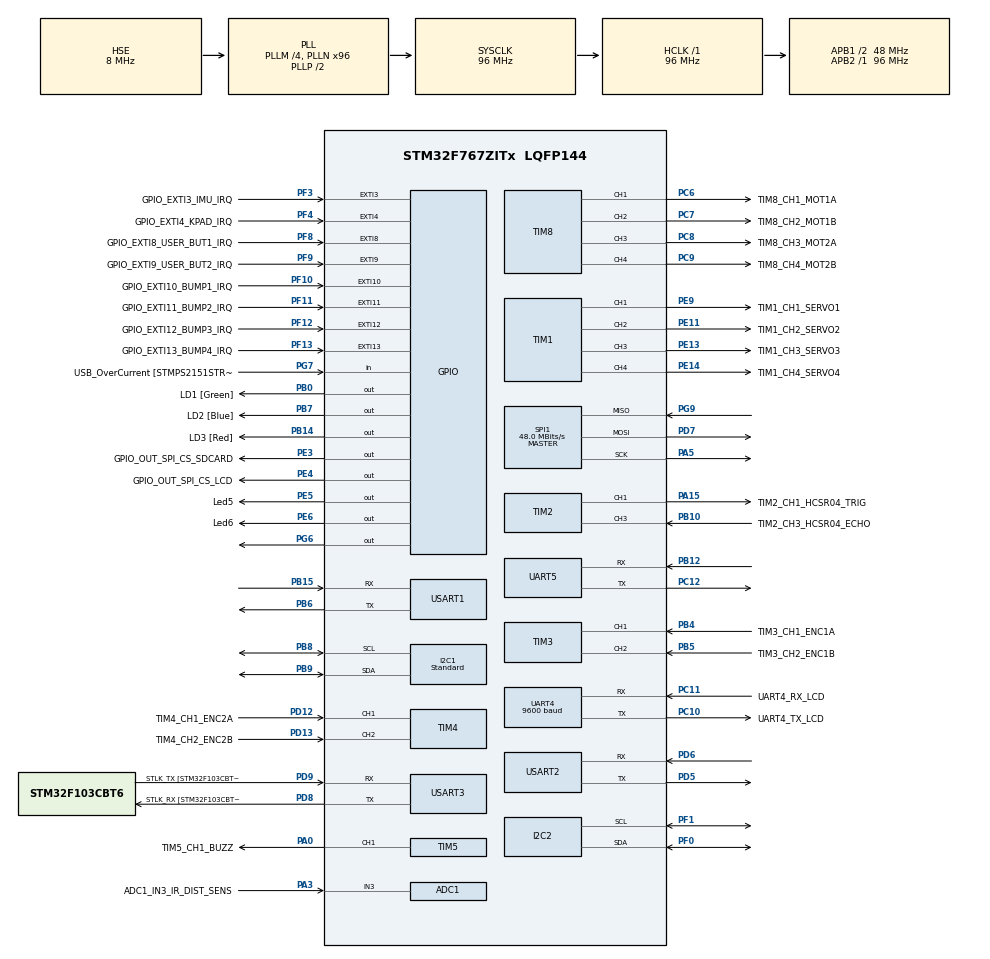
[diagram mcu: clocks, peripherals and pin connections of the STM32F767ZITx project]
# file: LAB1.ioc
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ADC1.Channel-1\#ChannelRegularConversion=ADC_CHANNEL_3
ADC1.NbrOfConversionFlag=1
ADC1.Rank-1\#ChannelRegularConversion=1
ADC1.SamplingTime-1\#ChannelRegularConversion=ADC_SAMPLETIME_3CYCLES
ADC1.master=1
FREERTOS.BinarySemaphores01=BinarySemSync,Dynamic,NULL
FREERTOS.Tasks01=lineSensorTask,48,128,StatLineSensorTask,Default,NULL,Dynamic,NULL,NULL;led1task,48,128,StartLed1task,Default,NULL,Dynamic,NULL,NULL;led2task,8,128,StartLed2task,Default,NULL,Dynamic,NULL,NULL
FREERTOS.configUSE_NEWLIB_REENTRANT=1
I2C1.I2C_Speed_Mode=I2C_Standard
I2C1.Timing=0x20303E5D
I2C2.Timing=0x20303E5D
Mcu.Family=STM32F7
Mcu.Name=STM32F767ZITx
Mcu.Package=LQFP144
Mcu.UserConstants=TIM8_PSC_VALUE,959;TIM8_ARR_VALUE,400;TIM1_PSC_VALUE,959;TIM1_ARR_VALUE,200
NVIC.EXTI4_IRQn=true\:5\:0\:true\:false\:true\:true\:true\:true\:true
NVIC.PriorityGroup=NVIC_PRIORITYGROUP_4
NVIC.TIM6_DAC_IRQn=true\:15\:0\:false\:false\:true\:false\:false\:true\:true
NVIC.TimeBase=TIM6_DAC_IRQn
NVIC.TimeBaseIP=TIM6
PA0/WKUP.GPIO_Label=TIM5_CH1_BUZZ
PA0/WKUP.Signal=S_TIM5_CH1
PA1.GPIO_Label=RMII_REF_CLK [LAN8742A-CZ-TR_REFCLK0]
PA1.Signal=ETH_REF_CLK
PA10.GPIO_Label=USB_ID
PA10.Signal=USB_OTG_FS_ID
PA11.GPIO_Label=USB_DM
PA11.Signal=USB_OTG_FS_DM
PA12.GPIO_Label=USB_DP
PA12.Signal=USB_OTG_FS_DP
PA13.GPIO_Label=TMS
PA13.Mode=Serial_Wire
PA13.Signal=SYS_JTMS-SWDIO
PA14.GPIO_Label=TCK
PA14.Mode=Serial_Wire
PA14.Signal=SYS_JTCK-SWCLK
PA15.GPIO_Label=TIM2_CH1_HCSR04_TRIG
PA15.Signal=S_TIM2_CH1_ETR
PA2.GPIO_Label=RMII_MDIO [LAN8742A-CZ-TR_MDIO]
PA2.Signal=ETH_MDIO
PA3.GPIO_Label=ADC1_IN3_IR_DIST_SENS
PA3.Signal=ADCx_IN3
PA5.Mode=Full_Duplex_Master
PA5.Signal=SPI1_SCK
PA7.GPIO_Label=RMII_CRS_DV [LAN8742A-CZ-TR_CRS_DV]
PA7.Signal=ETH_CRS_DV
PA8.GPIO_Label=USB_SOF [TP1]
PA8.Signal=USB_OTG_FS_SOF
PA9.GPIO_Label=USB_VBUS
PA9.Signal=USB_OTG_FS_VBUS
PB0.GPIO_Label=LD1 [Green]
PB0.Signal=GPIO_Output
PB10.GPIO_Label=TIM2_CH3_HCSR04_ECHO
PB10.Signal=S_TIM2_CH3
PB12.Mode=Asynchronous
PB12.Signal=UART5_RX
PB13.GPIO_Label=RMII_TXD1 [LAN8742A-CZ-TR_TXD1]
PB13.Signal=ETH_TXD1
PB14.GPIO_Label=LD3 [Red]
PB14.Signal=GPIO_Output
PB15.Mode=Asynchronous
PB15.Signal=USART1_RX
PB3.GPIO_Label=SWO
PB3.Signal=SYS_JTDO-SWO
PB4.GPIO_Label=TIM3_CH1_ENC1A
PB4.Signal=S_TIM3_CH1
PB5.GPIO_Label=TIM3_CH2_ENC1B
PB5.Signal=S_TIM3_CH2
PB6.Mode=Asynchronous
PB6.Signal=USART1_TX
PB7.GPIO_Label=LD2 [Blue]
PB7.Signal=GPIO_Output
PB8.GPIO_Pu=GPIO_PULLUP
PB8.Mode=I2C
PB8.Signal=I2C1_SCL
PB9.GPIO_Pu=GPIO_PULLUP
PB9.Mode=I2C
PB9.Signal=I2C1_SDA
PC1.GPIO_Label=RMII_MDC [LAN8742A-CZ-TR_MDC]
PC1.Signal=ETH_MDC
PC10.GPIO_Label=UART4_TX_LCD
PC10.Mode=Asynchronous
PC10.Signal=UART4_TX
PC11.GPIO_Label=UART4_RX_LCD
PC11.Mode=Asynchronous
PC11.Signal=UART4_RX
PC12.Mode=Asynchronous
PC12.Signal=UART5_TX
PC14/OSC32_IN.Mode=LSE-External-Oscillator
PC14/OSC32_IN.Signal=RCC_OSC32_IN
PC15/OSC32_OUT.Mode=LSE-External-Oscillator
PC15/OSC32_OUT.Signal=RCC_OSC32_OUT
PC4.GPIO_Label=RMII_RXD0 [LAN8742A-CZ-TR_RXD0]
PC4.Signal=ETH_RXD0
PC5.GPIO_Label=RMII_RXD1 [LAN8742A-CZ-TR_RXD1]
PC5.Signal=ETH_RXD1
PC6.GPIO_Label=TIM8_CH1_MOT1A
PC6.Signal=S_TIM8_CH1
PC7.GPIO_Label=TIM8_CH2_MOT1B
PC7.Signal=S_TIM8_CH2
PC8.GPIO_Label=TIM8_CH3_MOT2A
PC8.Signal=S_TIM8_CH3
PC9.GPIO_Label=TIM8_CH4_MOT2B
PC9.Signal=S_TIM8_CH4
PD12.GPIO_Label=TIM4_CH1_ENC2A
PD12.Signal=S_TIM4_CH1
PD13.GPIO_Label=TIM4_CH2_ENC2B
PD13.Signal=S_TIM4_CH2
PD5.Mode=Asynchronous
PD5.Signal=USART2_TX
PD6.Mode=Asynchronous
PD6.Signal=USART2_RX
PD7.Mode=Full_Duplex_Master
PD7.Signal=SPI1_MOSI
PD8.GPIO_Label=STLK_RX [STM32F103CBT6_PA3]
PD8.Mode=Asynchronous
PD8.Signal=USART3_TX
PD9.GPIO_Label=STLK_TX [STM32F103CBT6_PA2]
PD9.Mode=Asynchronous
PD9.Signal=USART3_RX
PE11.GPIO_Label=TIM1_CH2_SERVO2
PE11.Signal=S_TIM1_CH2
PE13.GPIO_Label=TIM1_CH3_SERVO3
PE13.Signal=S_TIM1_CH3
PE14.GPIO_Label=TIM1_CH4_SERVO4
PE14.Signal=S_TIM1_CH4
PE3.GPIO_Label=GPIO_OUT_SPI_CS_SDCARD
PE3.Signal=GPIO_Output
PE4.GPIO_Label=GPIO_OUT_SPI_CS_LCD
PE4.Signal=GPIO_Output
PE5.GPIO_Label=Led5
PE5.Signal=GPIO_Output
PE6.GPIO_Label=Led6
PE6.Signal=GPIO_Output
PE9.GPIO_Label=TIM1_CH1_SERVO1
PE9.Signal=S_TIM1_CH1
PF0.GPIO_Pu=GPIO_PULLUP
PF0.Mode=I2C
PF0.Signal=I2C2_SDA
PF1.GPIO_Pu=GPIO_PULLUP
PF1.Mode=I2C
PF1.Signal=I2C2_SCL
PF10.GPIO_Label=GPIO_EXTI10_BUMP1_IRQ
PF10.Signal=GPXTI10
PF11.GPIO_Label=GPIO_EXTI11_BUMP2_IRQ
PF11.Signal=GPXTI11
PF12.GPIO_Label=GPIO_EXTI12_BUMP3_IRQ
PF12.Signal=GPXTI12
PF13.GPIO_Label=GPIO_EXTI13_BUMP4_IRQ
PF13.Signal=GPXTI13
PF3.GPIO_Label=GPIO_EXTI3_IMU_IRQ
PF3.Signal=GPXTI3
PF4.GPIO_Label=GPIO_EXTI4_KPAD_IRQ
PF4.GPIO_ModeDefaultEXTI=GPIO_MODE_IT_FALLING
PF4.Signal=GPXTI4
PF8.GPIO_Label=GPIO_EXTI8_USER_BUT1_IRQ
PF8.Signal=GPXTI8
PF9.GPIO_Label=GPIO_EXTI9_USER_BUT2_IRQ
PF9.Signal=GPXTI9
PG11.GPIO_Label=RMII_TX_EN [LAN8742A-CZ-TR_TXEN]
PG11.Signal=ETH_TX_EN
PG13.GPIO_Label=RMII_TXD0 [LAN8742A-CZ-TR_TXD0]
PG13.Signal=ETH_TXD0
PG6.Signal=GPIO_Output
PG7.GPIO_Label=USB_OverCurrent [STMPS2151STR_FAULT]
PG7.Signal=GPIO_Input
PG9.Mode=Full_Duplex_Master
PG9.Signal=SPI1_MISO
PH0/OSC_IN.GPIO_Label=MCO [STM32F103CBT6_PA8]
PH0/OSC_IN.Mode=HSE-External-Clock-Source
PH0/OSC_IN.Signal=RCC_OSC_IN
PH1/OSC_OUT.Mode=HSE-External-Clock-Source
PH1/OSC_OUT.Signal=RCC_OSC_OUT
ProjectManager.HeapSize=0x200
ProjectManager.StackSize=0x400
ProjectManager.TargetToolchain=STM32CubeIDE
RCC.48MHZClocksFreq_Value=24000000
RCC.AHBFreq_Value=96000000
RCC.APB1CLKDivider=RCC_HCLK_DIV2
RCC.APB1Freq_Value=48000000
RCC.APB1TimFreq_Value=96000000
RCC.APB2Freq_Value=96000000
RCC.APB2TimFreq_Value=96000000
RCC.CortexFreq_Value=96000000
RCC.HCLKFreq_Value=96000000
RCC.HSE_VALUE=8000000
RCC.HSI_VALUE=16000000
RCC.PLLM=4
RCC.PLLMUL=RCC_PLL_MUL9
RCC.PLLN=96
RCC.PLLQ=4
RCC.PLLSourceVirtual=RCC_PLLSOURCE_HSE
RCC.PRESCALERUSB=RCC_USBCLKSOURCE_PLL_DIV1_5
RCC.SYSCLKFreq_VALUE=96000000
RCC.SYSCLKSource=RCC_SYSCLKSOURCE_PLLCLK
RCC.SYSCLKSourceVirtual=RCC_SYSCLKSOURCE_PLLCLK
RCC.USBFreq_Value=48000000
RCC.VCOOutputFreq_Value=192000000
SH.ADCx_IN3.0=ADC1_IN3,IN3
SH.S_TIM1_CH1.0=TIM1_CH1,PWM Generation1 CH1
SH.S_TIM1_CH2.0=TIM1_CH2,PWM Generation2 CH2
SH.S_TIM1_CH3.0=TIM1_CH3,PWM Generation3 CH3
SH.S_TIM1_CH4.0=TIM1_CH4,PWM Generation4 CH4
SH.S_TIM2_CH1_ETR.0=TIM2_CH1,PWM Generation1 CH1
SH.S_TIM2_CH3.0=TIM2_CH3,Input_Capture3_from_TI3
SH.S_TIM3_CH1.0=TIM3_CH1,Encoder_Interface
SH.S_TIM3_CH2.0=TIM3_CH2,Encoder_Interface
SH.S_TIM4_CH1.0=TIM4_CH1,Encoder_Interface
SH.S_TIM4_CH2.0=TIM4_CH2,Encoder_Interface
SH.S_TIM5_CH1.0=TIM5_CH1,PWM Generation1 CH1
SH.S_TIM8_CH1.0=TIM8_CH1,PWM Generation1 CH1
SH.S_TIM8_CH2.0=TIM8_CH2,PWM Generation2 CH2
SH.S_TIM8_CH3.0=TIM8_CH3,PWM Generation3 CH3
SH.S_TIM8_CH4.0=TIM8_CH4,PWM Generation4 CH4
SPI1.CalculateBaudRate=48.0 MBits/s
SPI1.Direction=SPI_DIRECTION_2LINES
SPI1.Mode=SPI_MODE_MASTER
SPI1.VirtualType=VM_MASTER
TIM1.Channel-PWM\ Generation1\ CH1=TIM_CHANNEL_1
TIM1.Channel-PWM\ Generation2\ CH2=TIM_CHANNEL_2
TIM1.Channel-PWM\ Generation3\ CH3=TIM_CHANNEL_3
TIM1.Channel-PWM\ Generation4\ CH4=TIM_CHANNEL_4
TIM1.Period=TIM1_ARR_VALUE
TIM1.Prescaler=TIM1_PSC_VALUE
TIM2.Channel-Input_Capture3_from_TI3=TIM_CHANNEL_3
TIM2.Channel-PWM\ Generation1\ CH1=TIM_CHANNEL_1
TIM5.Channel-PWM\ Generation1\ CH1=TIM_CHANNEL_1
TIM8.Channel-PWM\ Generation1\ CH1=TIM_CHANNEL_1
TIM8.Channel-PWM\ Generation2\ CH2=TIM_CHANNEL_2
TIM8.Channel-PWM\ Generation3\ CH3=TIM_CHANNEL_3
TIM8.Channel-PWM\ Generation4\ CH4=TIM_CHANNEL_4
TIM8.Period=TIM8_ARR_VALUE
TIM8.Prescaler=TIM8_PSC_VALUE
UART4.BaudRate=9600
USART1.VirtualMode-Asynchronous=VM_ASYNC
USART2.VirtualMode-Asynchronous=VM_ASYNC
USART3.VirtualMode-Asynchronous=VM_ASYNC
VP_FREERTOS_VS_CMSIS_V2.Mode=CMSIS_V2
VP_SYS_VS_tim6.Mode=TIM6
VP_TIM1_VS_ClockSourceINT.Mode=Internal
VP_TIM2_VS_ClockSourceINT.Mode=Internal
VP_TIM5_VS_ClockSourceINT.Mode=Internal
VP_TIM8_VS_ClockSourceINT.Mode=Internal
board=NUCLEO-F767ZI

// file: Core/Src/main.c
/* USER CODE BEGIN Header */
/**
 ******************************************************************************
 * @file           : main.c
 * @brief          : Main program body
 ******************************************************************************
 * @attention
 *
 * <h2><center>&copy; Copyright (c) 2021 STMicroelectronics.
 * All rights reserved.</center></h2>
 *
 * This software component is licensed by ST under BSD 3-Clause license,
 * the "License"; You may not use this file except in compliance with the
 * License. You may obtain a copy of the License at:
 *                        opensource.org/licenses/BSD-3-Clause
 *
 ******************************************************************************
 */
/* USER CODE END Header */
#include "main.h"
#include "cmsis_os.h"

/* USER CODE BEGIN Includes */
#include <stdio.h>
#include <string.h>
#include "SX1509_Registers.h"
/* USER CODE END Includes */

/* USER CODE BEGIN PD */
#define HAL_TIMEOUT 100

#define I2C_TIMEOUT 200

#define SX1509_I2C_ADDR1 0x3E //	SX1509 Proxy Sensors I2C address
#define SX1509_I2C_ADDR2 0x3F //	SX1509 Keypad I2C address
/* USER CODE END PD */

ADC_HandleTypeDef hadc1;

I2C_HandleTypeDef hi2c1;
I2C_HandleTypeDef hi2c2;

SPI_HandleTypeDef hspi1;

TIM_HandleTypeDef htim1;
TIM_HandleTypeDef htim2;
TIM_HandleTypeDef htim3;
TIM_HandleTypeDef htim4;
TIM_HandleTypeDef htim5;
TIM_HandleTypeDef htim8;

UART_HandleTypeDef huart4;
UART_HandleTypeDef huart5;
UART_HandleTypeDef huart1;
UART_HandleTypeDef huart2;
UART_HandleTypeDef huart3;

/* Definitions for lineSensorTask */
osThreadId_t lineSensorTaskHandle;
const osThreadAttr_t lineSensorTask_attributes = {
  .name = "lineSensorTask",
  .stack_size = 128 * 4,
  .priority = (osPriority_t) osPriorityRealtime,
};
/* Definitions for led1task */
osThreadId_t led1taskHandle;
const osThreadAttr_t led1task_attributes = {
  .name = "led1task",
  .stack_size = 128 * 4,
  .priority = (osPriority_t) osPriorityRealtime,
};
/* Definitions for led2task */
osThreadId_t led2taskHandle;
const osThreadAttr_t led2task_attributes = {
  .name = "led2task",
  .stack_size = 128 * 4,
  .priority = (osPriority_t) osPriorityLow,
};
/* Definitions for BinarySemSync */
osSemaphoreId_t BinarySemSyncHandle;
const osSemaphoreAttr_t BinarySemSync_attributes = {
  .name = "BinarySemSync"
};
/* USER CODE BEGIN PV */
const char keypadLayout[4][4] = {
    {'*', '0', '#', 'D'},
    {'7', '8', '9', 'C'},
    {'4', '5', '6', 'B'},
    {'1', '2', '3', 'A'}};
/* USER CODE END PV */

void SystemClock_Config(void);
static void MX_GPIO_Init(void);
static void MX_USART3_UART_Init(void);
static void MX_ADC1_Init(void);
static void MX_I2C1_Init(void);
static void MX_I2C2_Init(void);
static void MX_SPI1_Init(void);
static void MX_TIM1_Init(void);
static void MX_TIM2_Init(void);
static void MX_TIM3_Init(void);
static void MX_TIM4_Init(void);
static void MX_TIM5_Init(void);
static void MX_TIM8_Init(void);
static void MX_UART4_Init(void);
static void MX_UART5_Init(void);
static void MX_USART1_UART_Init(void);
static void MX_USART2_UART_Init(void);
void StatLineSensorTask(void *argument);
void StartLed1task(void *argument);
void StartLed2task(void *argument);

/* USER CODE BEGIN PFP */
extern void initialise_monitor_handles(void);
/* USER CODE END PFP */

/* USER CODE BEGIN 0 */
#define INITIAL_WAIT_TIME  400;
int actual_wait = INITIAL_WAIT_TIME;
int actual_keyboard_value = 0;
int frequency = 0;

uint8_t countBit(uint8_t n){
	uint8_t count = 0;
	while(n){
		count += n & 1;
		n>>=1;
	}
	return count;
}

void HAL_GPIO_EXTI_Callback(uint16_t GPIO_Pin)
{

  printf("Interrupt on pin (%d).\n", GPIO_Pin);

  /* your code here */
  uint8_t buf[2], data;

  HAL_StatusTypeDef status =  HAL_I2C_Mem_Read(&hi2c1, SX1509_I2C_ADDR2 << 1, REG_KEY_DATA_1, 1, &buf[0], 1, HAL_TIMEOUT);
  if (status != HAL_OK)
    printf("I2C communication error (%X).\n", status);
  status =  HAL_I2C_Mem_Read(&hi2c1, SX1509_I2C_ADDR2 << 1, REG_KEY_DATA_2, 1, &buf[1], 1, HAL_TIMEOUT);
  if (status != HAL_OK)
      printf("I2C communication error (%X).\n", status);
  int row = countBit(~buf[0]-1);
  int column = countBit(~buf[1]-1);
  printf("Keypad button: (%c).\n",keypadLayout[column][row]);

  // EASY WAY
  //int frequency = (int) keypadLayout[column][row]-48;

  // HARD WAY
  if(keypadLayout[column][row] == '#')
  {
	  frequency = actual_keyboard_value;
	  actual_keyboard_value = 0;
  }
  else
  {
	  actual_keyboard_value = actual_keyboard_value*10 + ((int) keypadLayout[column][row]-48);
  }

  if (frequency == 0)
	  actual_wait = 0;
  else
	  actual_wait = 1000 / frequency;

}

/* USER CODE END 0 */

int main(void)
{
  /* USER CODE BEGIN 1 */
  uint8_t data;
  HAL_StatusTypeDef status;
  /* USER CODE END 1 */

  /* MCU Configuration--------------------------------------------------------*/

  /* Reset of all peripherals, Initializes the Flash interface and the Systick. */
  HAL_Init();

  /* Configure the system clock */
  SystemClock_Config();

  /* USER CODE BEGIN SysInit */
  initialise_monitor_handles();
  /* USER CODE END SysInit */

  /* Initialize all configured peripherals */
  MX_GPIO_Init();
  MX_USART3_UART_Init();
  MX_ADC1_Init();
  MX_I2C1_Init();
  MX_I2C2_Init();
  MX_SPI1_Init();
  MX_TIM1_Init();
  MX_TIM2_Init();
  MX_TIM3_Init();
  MX_TIM4_Init();
  MX_TIM5_Init();
  MX_TIM8_Init();
  MX_UART4_Init();
  MX_UART5_Init();
  MX_USART1_UART_Init();
  MX_USART2_UART_Init();
  /* USER CODE BEGIN 2 */

  /* Disable LCD SPI SS */
  HAL_GPIO_WritePin(GPIO_OUT_SPI_CS_LCD_GPIO_Port, GPIO_OUT_SPI_CS_LCD_Pin, GPIO_PIN_SET);

  /* Disable EXTI4_IRQ during SX1509 initialization */
  HAL_NVIC_DisableIRQ(EXTI4_IRQn);

  /* Software reset */
  data = 0x12;
  status = HAL_I2C_Mem_Write(&hi2c1, SX1509_I2C_ADDR2 << 1, REG_RESET, 1, &data, 1, I2C_TIMEOUT);
  if (status != HAL_OK)
    printf("I2C communication error (%X).\n", status);

  data = 0x34;
  status = HAL_I2C_Mem_Write(&hi2c1, SX1509_I2C_ADDR2 << 1, REG_RESET, 1, &data, 1, I2C_TIMEOUT);
  if (status != HAL_OK)
    printf("I2C communication error (%X).\n", status);

  HAL_Delay(100);

  /* Set KeyPad scanning engine */

  /* Set RegClock to 0x40 (enable internal oscillator; 2MHz freq) */
  data = 0x40;
  status = HAL_I2C_Mem_Write(&hi2c1, SX1509_I2C_ADDR2 << 1, REG_CLOCK, 1, &data, 1, I2C_TIMEOUT);
  if (status != HAL_OK)
    printf("I2C communication error (%X).\n", status);

  /* Set Bank A RegDir to 0xF0 (IO[0:3] as out) */
  data = 0xF0;
  status = HAL_I2C_Mem_Write(&hi2c1, SX1509_I2C_ADDR2 << 1, REG_DIR_A, 1, &data, 1, I2C_TIMEOUT);
  if (status != HAL_OK)
    printf("I2C communication error (%X).\n", status);

  /* Set Bank B RegDir to 0x0F (IO[8:11] as in) */
  data = 0x0F;
  status = HAL_I2C_Mem_Write(&hi2c1, SX1509_I2C_ADDR2 << 1, REG_DIR_B, 1, &data, 1, I2C_TIMEOUT);
  if (status != HAL_OK)
    printf("I2C communication error (%X).\n", status);

  /* Set Bank A RegOpenDrain to 0x0F (IO[0:3] as open-drain outputs) */
  data = 0x0F;
  status = HAL_I2C_Mem_Write(&hi2c1, SX1509_I2C_ADDR2 << 1, REG_OPEN_DRAIN_A, 1, &data, 1, I2C_TIMEOUT);
  if (status != HAL_OK)
    printf("I2C communication error (%X).\n", status);

  /* Set Bank B RegPullup to 0x0F (pull-ups enabled on inputs IO[8:11]) */
  data = 0x0F;
  status = HAL_I2C_Mem_Write(&hi2c1, SX1509_I2C_ADDR2 << 1, REG_PULL_UP_B, 1, &data, 1, I2C_TIMEOUT);
  if (status != HAL_OK)
    printf("I2C communication error (%X).\n", status);

  /* Set Bank B RegDebounceEnable to 0x0F (enable debouncing on IO[8:11]) */
  data = 0x0F;
  status = HAL_I2C_Mem_Write(&hi2c1, SX1509_I2C_ADDR2 << 1, REG_DEBOUNCE_ENABLE_B, 1, &data, 1, I2C_TIMEOUT);
  if (status != HAL_OK)
    printf("I2C communication error (%X).\n", status);

  /* Set RegDebounceConfig to 0x05 (16ms debounce time) */
  data = 0x05;
  status = HAL_I2C_Mem_Write(&hi2c1, SX1509_I2C_ADDR2 << 1, REG_DEBOUNCE_CONFIG, 1, &data, 1, I2C_TIMEOUT);
  if (status != HAL_OK)
    printf("I2C communication error (%X).\n", status);

  /* Set RegKeyConfig1 to 0x7D (8s auto-sleep; 32ms scan time per row) */
  data = 0x7D;
  status = HAL_I2C_Mem_Write(&hi2c1, SX1509_I2C_ADDR2 << 1, REG_KEY_CONFIG_1, 1, &data, 1, I2C_TIMEOUT);
  if (status != HAL_OK)
    printf("I2C communication error (%X).\n", status);

  /* Set RegKeyConfig2 to 0x1B (4 rows; 4 columns) */
  data = 0x1B;
  status = HAL_I2C_Mem_Write(&hi2c1, SX1509_I2C_ADDR2 << 1, REG_KEY_CONFIG_2, 1, &data, 1, I2C_TIMEOUT);
  if (status != HAL_OK)
    printf("I2C communication error (%X).\n", status);

  /* Enable EXTI4_IRQ after SX1509 initialization */
  HAL_Delay(100);
  HAL_NVIC_EnableIRQ(EXTI4_IRQn);

  /* Disable EXTI2_IRQ during SX1509 initialization */
  HAL_NVIC_DisableIRQ(EXTI2_IRQn);

  /* Software reset */
  data = 0x12;
  status = HAL_I2C_Mem_Write(&hi2c1, SX1509_I2C_ADDR1 << 1, REG_RESET, 1, &data, 1, I2C_TIMEOUT);
  if (status != HAL_OK)
    printf("I2C communication error (%X).\n", status);

  data = 0x34;
  status = HAL_I2C_Mem_Write(&hi2c1, SX1509_I2C_ADDR1 << 1, REG_RESET, 1, &data, 1, I2C_TIMEOUT);
  if (status != HAL_OK)
    printf("I2C communication error (%X).\n", status);

  HAL_Delay(100);

  /* Set RegDirA to 0xFF (all IO of Bank A configured as inputs) */
  data = 0xFF; // 0 = out; 1 = in
  status = HAL_I2C_Mem_Write(&hi2c1, SX1509_I2C_ADDR1 << 1, REG_DIR_A, 1, &data, 1, I2C_TIMEOUT);
  if (status != HAL_OK)
    printf("I2C communication error (%X).\n", status);

  /* Set RegDirB to 0xFF (all IO of Bank B configured as inputs) */
  data = 0xFF; // 0 = out; 1 = in
  status = HAL_I2C_Mem_Write(&hi2c1, SX1509_I2C_ADDR1 << 1, REG_DIR_B, 1, &data, 1, I2C_TIMEOUT);
  if (status != HAL_OK)
    printf("I2C communication error (%X).\n", status);

  /* Set RegInterruptMaskA to 0x00 (all IO of Bank A will trigger an interrupt) */
  data = 0x00;
  status = HAL_I2C_Mem_Write(&hi2c1, SX1509_I2C_ADDR1 << 1, REG_INTERRUPT_MASK_A, 1, &data, 1, I2C_TIMEOUT);
  if (status != HAL_OK)
    printf("I2C communication error (%X).\n", status);

  /* Set RegSenseHighA to 0xAA (IO[7:4] of Bank A will trigger an interrupt on falling edge) */
  data = 0xAA;
  status = HAL_I2C_Mem_Write(&hi2c1, SX1509_I2C_ADDR1 << 1, REG_SENSE_HIGH_A, 1, &data, 1, I2C_TIMEOUT);
  if (status != HAL_OK)
    printf("I2C communication error (%X).\n", status);

  /* Set RegSenseLowA to 0xAA (IO[3:0] of Bank A will trigger an interrupt on falling edge) */
  data = 0xAA;
  status = HAL_I2C_Mem_Write(&hi2c1, SX1509_I2C_ADDR1 << 1, REG_SENSE_LOW_A, 1, &data, 1, I2C_TIMEOUT);
  if (status != HAL_OK)
    printf("I2C communication error (%X).\n", status);

  /* Enable EXTI2_IRQ after SX1509 initialization */
  HAL_Delay(100);
  HAL_NVIC_EnableIRQ(EXTI2_IRQn);

  printf("Ready\n");

  /* USER CODE END 2 */

  /* Init scheduler */
  osKernelInitialize();

  /* Create the semaphores(s) */
  /* creation of BinarySemSync */
  BinarySemSyncHandle = osSemaphoreNew(1, 0, &BinarySemSync_attributes);

  /* Create the thread(s) */
  /* creation of lineSensorTask */
  lineSensorTaskHandle = osThreadNew(StatLineSensorTask, NULL, &lineSensorTask_attributes);

  /* creation of led1task */
  led1taskHandle = osThreadNew(StartLed1task, NULL, &led1task_attributes);

  /* creation of led2task */
  led2taskHandle = osThreadNew(StartLed2task, NULL, &led2task_attributes);

  /* Start scheduler */
  osKernelStart();

  /* We should never get here as control is now taken by the scheduler */
  /* Infinite loop */
  while (1)
  {

  }
}

void SystemClock_Config(void)
{
  RCC_OscInitTypeDef RCC_OscInitStruct = {0};
  RCC_ClkInitTypeDef RCC_ClkInitStruct = {0};

  /** Configure LSE Drive Capability
  */
  HAL_PWR_EnableBkUpAccess();

  /** Configure the main internal regulator output voltage
  */
  __HAL_RCC_PWR_CLK_ENABLE();
  __HAL_PWR_VOLTAGESCALING_CONFIG(PWR_REGULATOR_VOLTAGE_SCALE3);

  /** Initializes the RCC Oscillators according to the specified parameters
  * in the RCC_OscInitTypeDef structure.
  */
  RCC_OscInitStruct.OscillatorType = RCC_OSCILLATORTYPE_HSE;
  RCC_OscInitStruct.HSEState = RCC_HSE_BYPASS;
  RCC_OscInitStruct.PLL.PLLState = RCC_PLL_ON;
  RCC_OscInitStruct.PLL.PLLSource = RCC_PLLSOURCE_HSE;
  RCC_OscInitStruct.PLL.PLLM = 4;
  RCC_OscInitStruct.PLL.PLLN = 96;
  RCC_OscInitStruct.PLL.PLLP = RCC_PLLP_DIV2;
  RCC_OscInitStruct.PLL.PLLQ = 4;
  RCC_OscInitStruct.PLL.PLLR = 2;
  if (HAL_RCC_OscConfig(&RCC_OscInitStruct) != HAL_OK)
  {
    Error_Handler();
  }

  /** Activate the Over-Drive mode
  */
  if (HAL_PWREx_EnableOverDrive() != HAL_OK)
  {
    Error_Handler();
  }

  /** Initializes the CPU, AHB and APB buses clocks
  */
  RCC_ClkInitStruct.ClockType = RCC_CLOCKTYPE_HCLK|RCC_CLOCKTYPE_SYSCLK
                              |RCC_CLOCKTYPE_PCLK1|RCC_CLOCKTYPE_PCLK2;
  RCC_ClkInitStruct.SYSCLKSource = RCC_SYSCLKSOURCE_PLLCLK;
  RCC_ClkInitStruct.AHBCLKDivider = RCC_SYSCLK_DIV1;
  RCC_ClkInitStruct.APB1CLKDivider = RCC_HCLK_DIV2;
  RCC_ClkInitStruct.APB2CLKDivider = RCC_HCLK_DIV1;

  if (HAL_RCC_ClockConfig(&RCC_ClkInitStruct, FLASH_LATENCY_3) != HAL_OK)
  {
    Error_Handler();
  }
}

static void MX_ADC1_Init(void)
{

  ADC_ChannelConfTypeDef sConfig = {0};

  /** Configure the global features of the ADC (Clock, Resolution, Data Alignment and number of conversion)
  */
  hadc1.Instance = ADC1;
  hadc1.Init.ClockPrescaler = ADC_CLOCK_SYNC_PCLK_DIV4;
  hadc1.Init.Resolution = ADC_RESOLUTION_12B;
  hadc1.Init.ScanConvMode = ADC_SCAN_DISABLE;
  hadc1.Init.ContinuousConvMode = DISABLE;
  hadc1.Init.DiscontinuousConvMode = DISABLE;
  hadc1.Init.ExternalTrigConvEdge = ADC_EXTERNALTRIGCONVEDGE_NONE;
  hadc1.Init.ExternalTrigConv = ADC_SOFTWARE_START;
  hadc1.Init.DataAlign = ADC_DATAALIGN_RIGHT;
  hadc1.Init.NbrOfConversion = 1;
  hadc1.Init.DMAContinuousRequests = DISABLE;
  hadc1.Init.EOCSelection = ADC_EOC_SINGLE_CONV;
  if (HAL_ADC_Init(&hadc1) != HAL_OK)
  {
    Error_Handler();
  }

  /** Configure for the selected ADC regular channel its corresponding rank in the sequencer and its sample time.
  */
  sConfig.Channel = ADC_CHANNEL_3;
  sConfig.Rank = ADC_REGULAR_RANK_1;
  sConfig.SamplingTime = ADC_SAMPLETIME_3CYCLES;
  if (HAL_ADC_ConfigChannel(&hadc1, &sConfig) != HAL_OK)
  {
    Error_Handler();
  }

}

static void MX_I2C1_Init(void)
{

  hi2c1.Instance = I2C1;
  hi2c1.Init.Timing = 0x20303E5D;
  hi2c1.Init.OwnAddress1 = 0;
  hi2c1.Init.AddressingMode = I2C_ADDRESSINGMODE_7BIT;
  hi2c1.Init.DualAddressMode = I2C_DUALADDRESS_DISABLE;
  hi2c1.Init.OwnAddress2 = 0;
  hi2c1.Init.OwnAddress2Masks = I2C_OA2_NOMASK;
  hi2c1.Init.GeneralCallMode = I2C_GENERALCALL_DISABLE;
  hi2c1.Init.NoStretchMode = I2C_NOSTRETCH_DISABLE;
  if (HAL_I2C_Init(&hi2c1) != HAL_OK)
  {
    Error_Handler();
  }

  /** Configure Analogue filter
  */
  if (HAL_I2CEx_ConfigAnalogFilter(&hi2c1, I2C_ANALOGFILTER_ENABLE) != HAL_OK)
  {
    Error_Handler();
  }

  /** Configure Digital filter
  */
  if (HAL_I2CEx_ConfigDigitalFilter(&hi2c1, 0) != HAL_OK)
  {
    Error_Handler();
  }

}

static void MX_I2C2_Init(void)
{

  hi2c2.Instance = I2C2;
  hi2c2.Init.Timing = 0x20303E5D;
  hi2c2.Init.OwnAddress1 = 0;
  hi2c2.Init.AddressingMode = I2C_ADDRESSINGMODE_7BIT;
  hi2c2.Init.DualAddressMode = I2C_DUALADDRESS_DISABLE;
  hi2c2.Init.OwnAddress2 = 0;
  hi2c2.Init.OwnAddress2Masks = I2C_OA2_NOMASK;
  hi2c2.Init.GeneralCallMode = I2C_GENERALCALL_DISABLE;
  hi2c2.Init.NoStretchMode = I2C_NOSTRETCH_DISABLE;
  if (HAL_I2C_Init(&hi2c2) != HAL_OK)
  {
    Error_Handler();
  }

  /** Configure Analogue filter
  */
  if (HAL_I2CEx_ConfigAnalogFilter(&hi2c2, I2C_ANALOGFILTER_ENABLE) != HAL_OK)
  {
    Error_Handler();
  }

  /** Configure Digital filter
  */
  if (HAL_I2CEx_ConfigDigitalFilter(&hi2c2, 0) != HAL_OK)
  {
    Error_Handler();
  }

}

static void MX_SPI1_Init(void)
{

  /* SPI1 parameter configuration*/
  hspi1.Instance = SPI1;
  hspi1.Init.Mode = SPI_MODE_MASTER;
  hspi1.Init.Direction = SPI_DIRECTION_2LINES;
  hspi1.Init.DataSize = SPI_DATASIZE_4BIT;
  hspi1.Init.CLKPolarity = SPI_POLARITY_LOW;
  hspi1.Init.CLKPhase = SPI_PHASE_1EDGE;
  hspi1.Init.NSS = SPI_NSS_SOFT;
  hspi1.Init.BaudRatePrescaler = SPI_BAUDRATEPRESCALER_2;
  hspi1.Init.FirstBit = SPI_FIRSTBIT_MSB;
  hspi1.Init.TIMode = SPI_TIMODE_DISABLE;
  hspi1.Init.CRCCalculation = SPI_CRCCALCULATION_DISABLE;
  hspi1.Init.CRCPolynomial = 7;
  hspi1.Init.CRCLength = SPI_CRC_LENGTH_DATASIZE;
  hspi1.Init.NSSPMode = SPI_NSS_PULSE_ENABLE;
  if (HAL_SPI_Init(&hspi1) != HAL_OK)
  {
    Error_Handler();
  }

}

static void MX_TIM1_Init(void)
{

  TIM_ClockConfigTypeDef sClockSourceConfig = {0};
  TIM_MasterConfigTypeDef sMasterConfig = {0};
  TIM_OC_InitTypeDef sConfigOC = {0};
  TIM_BreakDeadTimeConfigTypeDef sBreakDeadTimeConfig = {0};

  htim1.Instance = TIM1;
  htim1.Init.Prescaler = TIM1_PSC_VALUE;
  htim1.Init.CounterMode = TIM_COUNTERMODE_UP;
  htim1.Init.Period = TIM1_ARR_VALUE;
  htim1.Init.ClockDivision = TIM_CLOCKDIVISION_DIV1;
  htim1.Init.RepetitionCounter = 0;
  htim1.Init.AutoReloadPreload = TIM_AUTORELOAD_PRELOAD_DISABLE;
  if (HAL_TIM_Base_Init(&htim1) != HAL_OK)
  {
    Error_Handler();
  }
  sClockSourceConfig.ClockSource = TIM_CLOCKSOURCE_INTERNAL;
  if (HAL_TIM_ConfigClockSource(&htim1, &sClockSourceConfig) != HAL_OK)
  {
    Error_Handler();
  }
  if (HAL_TIM_PWM_Init(&htim1) != HAL_OK)
  {
    Error_Handler();
  }
  sMasterConfig.MasterOutputTrigger = TIM_TRGO_RESET;
  sMasterConfig.MasterOutputTrigger2 = TIM_TRGO2_RESET;
  sMasterConfig.MasterSlaveMode = TIM_MASTERSLAVEMODE_DISABLE;
  if (HAL_TIMEx_MasterConfigSynchronization(&htim1, &sMasterConfig) != HAL_OK)
  {
    Error_Handler();
  }
  sConfigOC.OCMode = TIM_OCMODE_PWM1;
  sConfigOC.Pulse = 0;
  sConfigOC.OCPolarity = TIM_OCPOLARITY_HIGH;
  sConfigOC.OCNPolarity = TIM_OCNPOLARITY_HIGH;
  sConfigOC.OCFastMode = TIM_OCFAST_DISABLE;
  sConfigOC.OCIdleState = TIM_OCIDLESTATE_RESET;
  sConfigOC.OCNIdleState = TIM_OCNIDLESTATE_RESET;
  if (HAL_TIM_PWM_ConfigChannel(&htim1, &sConfigOC, TIM_CHANNEL_1) != HAL_OK)
  {
    Error_Handler();
  }
  if (HAL_TIM_PWM_ConfigChannel(&htim1, &sConfigOC, TIM_CHANNEL_2) != HAL_OK)
  {
    Error_Handler();
  }
  if (HAL_TIM_PWM_ConfigChannel(&htim1, &sConfigOC, TIM_CHANNEL_3) != HAL_OK)
  {
    Error_Handler();
  }
  if (HAL_TIM_PWM_ConfigChannel(&htim1, &sConfigOC, TIM_CHANNEL_4) != HAL_OK)
  {
    Error_Handler();
  }
  sBreakDeadTimeConfig.OffStateRunMode = TIM_OSSR_DISABLE;
  sBreakDeadTimeConfig.OffStateIDLEMode = TIM_OSSI_DISABLE;
  sBreakDeadTimeConfig.LockLevel = TIM_LOCKLEVEL_OFF;
  sBreakDeadTimeConfig.DeadTime = 0;
  sBreakDeadTimeConfig.BreakState = TIM_BREAK_DISABLE;
  sBreakDeadTimeConfig.BreakPolarity = TIM_BREAKPOLARITY_HIGH;
  sBreakDeadTimeConfig.BreakFilter = 0;
  sBreakDeadTimeConfig.Break2State = TIM_BREAK2_DISABLE;
  sBreakDeadTimeConfig.Break2Polarity = TIM_BREAK2POLARITY_HIGH;
  sBreakDeadTimeConfig.Break2Filter = 0;
  sBreakDeadTimeConfig.AutomaticOutput = TIM_AUTOMATICOUTPUT_DISABLE;
  if (HAL_TIMEx_ConfigBreakDeadTime(&htim1, &sBreakDeadTimeConfig) != HAL_OK)
  {
    Error_Handler();
  }
  HAL_TIM_MspPostInit(&htim1);

}

static void MX_TIM2_Init(void)
{

  TIM_ClockConfigTypeDef sClockSourceConfig = {0};
  TIM_MasterConfigTypeDef sMasterConfig = {0};
  TIM_OC_InitTypeDef sConfigOC = {0};
  TIM_IC_InitTypeDef sConfigIC = {0};

  htim2.Instance = TIM2;
  htim2.Init.Prescaler = 0;
  htim2.Init.CounterMode = TIM_COUNTERMODE_UP;
  htim2.Init.Period = 4294967295;
  htim2.Init.ClockDivision = TIM_CLOCKDIVISION_DIV1;
  htim2.Init.AutoReloadPreload = TIM_AUTORELOAD_PRELOAD_DISABLE;
  if (HAL_TIM_Base_Init(&htim2) != HAL_OK)
  {
    Error_Handler();
  }
  sClockSourceConfig.ClockSource = TIM_CLOCKSOURCE_INTERNAL;
  if (HAL_TIM_ConfigClockSource(&htim2, &sClockSourceConfig) != HAL_OK)
  {
    Error_Handler();
  }
  if (HAL_TIM_PWM_Init(&htim2) != HAL_OK)
  {
    Error_Handler();
  }
  if (HAL_TIM_IC_Init(&htim2) != HAL_OK)
  {
    Error_Handler();
  }
  sMasterConfig.MasterOutputTrigger = TIM_TRGO_RESET;
  sMasterConfig.MasterSlaveMode = TIM_MASTERSLAVEMODE_DISABLE;
  if (HAL_TIMEx_MasterConfigSynchronization(&htim2, &sMasterConfig) != HAL_OK)
  {
    Error_Handler();
  }
  sConfigOC.OCMode = TIM_OCMODE_PWM1;
  sConfigOC.Pulse = 0;
  sConfigOC.OCPolarity = TIM_OCPOLARITY_HIGH;
  sConfigOC.OCFastMode = TIM_OCFAST_DISABLE;
  if (HAL_TIM_PWM_ConfigChannel(&htim2, &sConfigOC, TIM_CHANNEL_1) != HAL_OK)
  {
    Error_Handler();
  }
  sConfigIC.ICPolarity = TIM_INPUTCHANNELPOLARITY_RISING;
  sConfigIC.ICSelection = TIM_ICSELECTION_DIRECTTI;
  sConfigIC.ICPrescaler = TIM_ICPSC_DIV1;
  sConfigIC.ICFilter = 0;
  if (HAL_TIM_IC_ConfigChannel(&htim2, &sConfigIC, TIM_CHANNEL_3) != HAL_OK)
  {
    Error_Handler();
  }
  HAL_TIM_MspPostInit(&htim2);

}

static void MX_TIM3_Init(void)
{

  TIM_Encoder_InitTypeDef sConfig = {0};
  TIM_MasterConfigTypeDef sMasterConfig = {0};

  htim3.Instance = TIM3;
  htim3.Init.Prescaler = 0;
  htim3.Init.CounterMode = TIM_COUNTERMODE_UP;
  htim3.Init.Period = 65535;
  htim3.Init.ClockDivision = TIM_CLOCKDIVISION_DIV1;
  htim3.Init.AutoReloadPreload = TIM_AUTORELOAD_PRELOAD_DISABLE;
  sConfig.EncoderMode = TIM_ENCODERMODE_TI1;
  sConfig.IC1Polarity = TIM_ICPOLARITY_RISING;
  sConfig.IC1Selection = TIM_ICSELECTION_DIRECTTI;
  sConfig.IC1Prescaler = TIM_ICPSC_DIV1;
  sConfig.IC1Filter = 0;
  sConfig.IC2Polarity = TIM_ICPOLARITY_RISING;
  sConfig.IC2Selection = TIM_ICSELECTION_DIRECTTI;
  sConfig.IC2Prescaler = TIM_ICPSC_DIV1;
  sConfig.IC2Filter = 0;
  if (HAL_TIM_Encoder_Init(&htim3, &sConfig) != HAL_OK)
  {
    Error_Handler();
  }
  sMasterConfig.MasterOutputTrigger = TIM_TRGO_RESET;
  sMasterConfig.MasterSlaveMode = TIM_MASTERSLAVEMODE_DISABLE;
  if (HAL_TIMEx_MasterConfigSynchronization(&htim3, &sMasterConfig) != HAL_OK)
  {
    Error_Handler();
  }

}

static void MX_TIM4_Init(void)
{

  TIM_Encoder_InitTypeDef sConfig = {0};
  TIM_MasterConfigTypeDef sMasterConfig = {0};

  htim4.Instance = TIM4;
  htim4.Init.Prescaler = 0;
  htim4.Init.CounterMode = TIM_COUNTERMODE_UP;
  htim4.Init.Period = 65535;
  htim4.Init.ClockDivision = TIM_CLOCKDIVISION_DIV1;
  htim4.Init.AutoReloadPreload = TIM_AUTORELOAD_PRELOAD_DISABLE;
  sConfig.EncoderMode = TIM_ENCODERMODE_TI1;
  sConfig.IC1Polarity = TIM_ICPOLARITY_RISING;
  sConfig.IC1Selection = TIM_ICSELECTION_DIRECTTI;
  sConfig.IC1Prescaler = TIM_ICPSC_DIV1;
  sConfig.IC1Filter = 0;
  sConfig.IC2Polarity = TIM_ICPOLARITY_RISING;
  sConfig.IC2Selection = TIM_ICSELECTION_DIRECTTI;
  sConfig.IC2Prescaler = TIM_ICPSC_DIV1;
  sConfig.IC2Filter = 0;
  if (HAL_TIM_Encoder_Init(&htim4, &sConfig) != HAL_OK)
  {
    Error_Handler();
  }
  sMasterConfig.MasterOutputTrigger = TIM_TRGO_RESET;
  sMasterConfig.MasterSlaveMode = TIM_MASTERSLAVEMODE_DISABLE;
  if (HAL_TIMEx_MasterConfigSynchronization(&htim4, &sMasterConfig) != HAL_OK)
  {
    Error_Handler();
  }

}

static void MX_TIM5_Init(void)
{

  TIM_ClockConfigTypeDef sClockSourceConfig = {0};
  TIM_MasterConfigTypeDef sMasterConfig = {0};
  TIM_OC_InitTypeDef sConfigOC = {0};

  htim5.Instance = TIM5;
  htim5.Init.Prescaler = 0;
  htim5.Init.CounterMode = TIM_COUNTERMODE_UP;
  htim5.Init.Period = 4294967295;
  htim5.Init.ClockDivision = TIM_CLOCKDIVISION_DIV1;
  htim5.Init.AutoReloadPreload = TIM_AUTORELOAD_PRELOAD_DISABLE;
  if (HAL_TIM_Base_Init(&htim5) != HAL_OK)
  {
    Error_Handler();
  }
  sClockSourceConfig.ClockSource = TIM_CLOCKSOURCE_INTERNAL;
  if (HAL_TIM_ConfigClockSource(&htim5, &sClockSourceConfig) != HAL_OK)
  {
    Error_Handler();
  }
  if (HAL_TIM_PWM_Init(&htim5) != HAL_OK)
  {
    Error_Handler();
  }
  sMasterConfig.MasterOutputTrigger = TIM_TRGO_RESET;
  sMasterConfig.MasterSlaveMode = TIM_MASTERSLAVEMODE_DISABLE;
  if (HAL_TIMEx_MasterConfigSynchronization(&htim5, &sMasterConfig) != HAL_OK)
  {
    Error_Handler();
  }
  sConfigOC.OCMode = TIM_OCMODE_PWM1;
  sConfigOC.Pulse = 0;
  sConfigOC.OCPolarity = TIM_OCPOLARITY_HIGH;
  sConfigOC.OCFastMode = TIM_OCFAST_DISABLE;
  if (HAL_TIM_PWM_ConfigChannel(&htim5, &sConfigOC, TIM_CHANNEL_1) != HAL_OK)
  {
    Error_Handler();
  }
  HAL_TIM_MspPostInit(&htim5);

}

static void MX_TIM8_Init(void)
{

  TIM_ClockConfigTypeDef sClockSourceConfig = {0};
  TIM_MasterConfigTypeDef sMasterConfig = {0};
  TIM_OC_InitTypeDef sConfigOC = {0};
  TIM_BreakDeadTimeConfigTypeDef sBreakDeadTimeConfig = {0};

  htim8.Instance = TIM8;
  htim8.Init.Prescaler = TIM8_PSC_VALUE;
  htim8.Init.CounterMode = TIM_COUNTERMODE_UP;
  htim8.Init.Period = TIM8_ARR_VALUE;
  htim8.Init.ClockDivision = TIM_CLOCKDIVISION_DIV1;
  htim8.Init.RepetitionCounter = 0;
  htim8.Init.AutoReloadPreload = TIM_AUTORELOAD_PRELOAD_DISABLE;
  if (HAL_TIM_Base_Init(&htim8) != HAL_OK)
  {
    Error_Handler();
  }
  sClockSourceConfig.ClockSource = TIM_CLOCKSOURCE_INTERNAL;
  if (HAL_TIM_ConfigClockSource(&htim8, &sClockSourceConfig) != HAL_OK)
  {
    Error_Handler();
  }
  if (HAL_TIM_PWM_Init(&htim8) != HAL_OK)
  {
    Error_Handler();
  }
  sMasterConfig.MasterOutputTrigger = TIM_TRGO_RESET;
  sMasterConfig.MasterOutputTrigger2 = TIM_TRGO2_RESET;
  sMasterConfig.MasterSlaveMode = TIM_MASTERSLAVEMODE_DISABLE;
  if (HAL_TIMEx_MasterConfigSynchronization(&htim8, &sMasterConfig) != HAL_OK)
  {
    Error_Handler();
  }
  sConfigOC.OCMode = TIM_OCMODE_PWM1;
  sConfigOC.Pulse = 0;
  sConfigOC.OCPolarity = TIM_OCPOLARITY_HIGH;
  sConfigOC.OCNPolarity = TIM_OCNPOLARITY_HIGH;
  sConfigOC.OCFastMode = TIM_OCFAST_DISABLE;
  sConfigOC.OCIdleState = TIM_OCIDLESTATE_RESET;
  sConfigOC.OCNIdleState = TIM_OCNIDLESTATE_RESET;
  if (HAL_TIM_PWM_ConfigChannel(&htim8, &sConfigOC, TIM_CHANNEL_1) != HAL_OK)
  {
    Error_Handler();
  }
  if (HAL_TIM_PWM_ConfigChannel(&htim8, &sConfigOC, TIM_CHANNEL_2) != HAL_OK)
  {
    Error_Handler();
  }
  if (HAL_TIM_PWM_ConfigChannel(&htim8, &sConfigOC, TIM_CHANNEL_3) != HAL_OK)
  {
    Error_Handler();
  }
  if (HAL_TIM_PWM_ConfigChannel(&htim8, &sConfigOC, TIM_CHANNEL_4) != HAL_OK)
  {
    Error_Handler();
  }
  sBreakDeadTimeConfig.OffStateRunMode = TIM_OSSR_DISABLE;
  sBreakDeadTimeConfig.OffStateIDLEMode = TIM_OSSI_DISABLE;
  sBreakDeadTimeConfig.LockLevel = TIM_LOCKLEVEL_OFF;
  sBreakDeadTimeConfig.DeadTime = 0;
  sBreakDeadTimeConfig.BreakState = TIM_BREAK_DISABLE;
  sBreakDeadTimeConfig.BreakPolarity = TIM_BREAKPOLARITY_HIGH;
  sBreakDeadTimeConfig.BreakFilter = 0;
  sBreakDeadTimeConfig.Break2State = TIM_BREAK2_DISABLE;
  sBreakDeadTimeConfig.Break2Polarity = TIM_BREAK2POLARITY_HIGH;
  sBreakDeadTimeConfig.Break2Filter = 0;
  sBreakDeadTimeConfig.AutomaticOutput = TIM_AUTOMATICOUTPUT_DISABLE;
  if (HAL_TIMEx_ConfigBreakDeadTime(&htim8, &sBreakDeadTimeConfig) != HAL_OK)
  {
    Error_Handler();
  }
  HAL_TIM_MspPostInit(&htim8);

}

static void MX_UART4_Init(void)
{

  huart4.Instance = UART4;
  huart4.Init.BaudRate = 9600;
  huart4.Init.WordLength = UART_WORDLENGTH_8B;
  huart4.Init.StopBits = UART_STOPBITS_1;
  huart4.Init.Parity = UART_PARITY_NONE;
  huart4.Init.Mode = UART_MODE_TX_RX;
  huart4.Init.HwFlowCtl = UART_HWCONTROL_NONE;
  huart4.Init.OverSampling = UART_OVERSAMPLING_16;
  huart4.Init.OneBitSampling = UART_ONE_BIT_SAMPLE_DISABLE;
  huart4.AdvancedInit.AdvFeatureInit = UART_ADVFEATURE_NO_INIT;
  if (HAL_UART_Init(&huart4) != HAL_OK)
  {
    Error_Handler();
  }

}

static void MX_UART5_Init(void)
{

  huart5.Instance = UART5;
  huart5.Init.BaudRate = 115200;
  huart5.Init.WordLength = UART_WORDLENGTH_8B;
  huart5.Init.StopBits = UART_STOPBITS_1;
  huart5.Init.Parity = UART_PARITY_NONE;
  huart5.Init.Mode = UART_MODE_TX_RX;
  huart5.Init.HwFlowCtl = UART_HWCONTROL_NONE;
  huart5.Init.OverSampling = UART_OVERSAMPLING_16;
  huart5.Init.OneBitSampling = UART_ONE_BIT_SAMPLE_DISABLE;
  huart5.AdvancedInit.AdvFeatureInit = UART_ADVFEATURE_NO_INIT;
  if (HAL_UART_Init(&huart5) != HAL_OK)
  {
    Error_Handler();
  }

}

static void MX_USART1_UART_Init(void)
{

  huart1.Instance = USART1;
  huart1.Init.BaudRate = 115200;
  huart1.Init.WordLength = UART_WORDLENGTH_8B;
  huart1.Init.StopBits = UART_STOPBITS_1;
  huart1.Init.Parity = UART_PARITY_NONE;
  huart1.Init.Mode = UART_MODE_TX_RX;
  huart1.Init.HwFlowCtl = UART_HWCONTROL_NONE;
  huart1.Init.OverSampling = UART_OVERSAMPLING_16;
  huart1.Init.OneBitSampling = UART_ONE_BIT_SAMPLE_DISABLE;
  huart1.AdvancedInit.AdvFeatureInit = UART_ADVFEATURE_NO_INIT;
  if (HAL_UART_Init(&huart1) != HAL_OK)
  {
    Error_Handler();
  }

}

static void MX_USART2_UART_Init(void)
{

  huart2.Instance = USART2;
  huart2.Init.BaudRate = 115200;
  huart2.Init.WordLength = UART_WORDLENGTH_8B;
  huart2.Init.StopBits = UART_STOPBITS_1;
  huart2.Init.Parity = UART_PARITY_NONE;
  huart2.Init.Mode = UART_MODE_TX_RX;
  huart2.Init.HwFlowCtl = UART_HWCONTROL_NONE;
  huart2.Init.OverSampling = UART_OVERSAMPLING_16;
  huart2.Init.OneBitSampling = UART_ONE_BIT_SAMPLE_DISABLE;
  huart2.AdvancedInit.AdvFeatureInit = UART_ADVFEATURE_NO_INIT;
  if (HAL_UART_Init(&huart2) != HAL_OK)
  {
    Error_Handler();
  }

}

static void MX_USART3_UART_Init(void)
{

  huart3.Instance = USART3;
  huart3.Init.BaudRate = 115200;
  huart3.Init.WordLength = UART_WORDLENGTH_8B;
  huart3.Init.StopBits = UART_STOPBITS_1;
  huart3.Init.Parity = UART_PARITY_NONE;
  huart3.Init.Mode = UART_MODE_TX_RX;
  huart3.Init.HwFlowCtl = UART_HWCONTROL_NONE;
  huart3.Init.OverSampling = UART_OVERSAMPLING_16;
  huart3.Init.OneBitSampling = UART_ONE_BIT_SAMPLE_DISABLE;
  huart3.AdvancedInit.AdvFeatureInit = UART_ADVFEATURE_NO_INIT;
  if (HAL_UART_Init(&huart3) != HAL_OK)
  {
    Error_Handler();
  }

}

static void MX_GPIO_Init(void)
{
  GPIO_InitTypeDef GPIO_InitStruct = {0};

  /* GPIO Ports Clock Enable */
  __HAL_RCC_GPIOE_CLK_ENABLE();
  __HAL_RCC_GPIOC_CLK_ENABLE();
  __HAL_RCC_GPIOF_CLK_ENABLE();
  __HAL_RCC_GPIOH_CLK_ENABLE();
  __HAL_RCC_GPIOA_CLK_ENABLE();
  __HAL_RCC_GPIOB_CLK_ENABLE();
  __HAL_RCC_GPIOD_CLK_ENABLE();
  __HAL_RCC_GPIOG_CLK_ENABLE();

  /*Configure GPIO pin Output Level */
  HAL_GPIO_WritePin(GPIOE, GPIO_OUT_SPI_CS_SDCARD_Pin|GPIO_OUT_SPI_CS_LCD_Pin|Led5_Pin|Led6_Pin, GPIO_PIN_RESET);

  /*Configure GPIO pin Output Level */
  HAL_GPIO_WritePin(GPIOB, LD1_Pin|LD3_Pin|LD2_Pin, GPIO_PIN_RESET);

  /*Configure GPIO pin Output Level */
  HAL_GPIO_WritePin(GPIOG, GPIO_PIN_6, GPIO_PIN_RESET);

  /*Configure GPIO pins : GPIO_OUT_SPI_CS_SDCARD_Pin GPIO_OUT_SPI_CS_LCD_Pin Led5_Pin Led6_Pin */
  GPIO_InitStruct.Pin = GPIO_OUT_SPI_CS_SDCARD_Pin|GPIO_OUT_SPI_CS_LCD_Pin|Led5_Pin|Led6_Pin;
  GPIO_InitStruct.Mode = GPIO_MODE_OUTPUT_PP;
  GPIO_InitStruct.Pull = GPIO_NOPULL;
  GPIO_InitStruct.Speed = GPIO_SPEED_FREQ_LOW;
  HAL_GPIO_Init(GPIOE, &GPIO_InitStruct);

  /*Configure GPIO pins : GPIO_EXTI3_IMU_IRQ_Pin GPIO_EXTI8_USER_BUT1_IRQ_Pin GPIO_EXTI9_USER_BUT2_IRQ_Pin GPIO_EXTI10_BUMP1_IRQ_Pin
                           GPIO_EXTI11_BUMP2_IRQ_Pin GPIO_EXTI12_BUMP3_IRQ_Pin GPIO_EXTI13_BUMP4_IRQ_Pin */
  GPIO_InitStruct.Pin = GPIO_EXTI3_IMU_IRQ_Pin|GPIO_EXTI8_USER_BUT1_IRQ_Pin|GPIO_EXTI9_USER_BUT2_IRQ_Pin|GPIO_EXTI10_BUMP1_IRQ_Pin
                          |GPIO_EXTI11_BUMP2_IRQ_Pin|GPIO_EXTI12_BUMP3_IRQ_Pin|GPIO_EXTI13_BUMP4_IRQ_Pin;
  GPIO_InitStruct.Mode = GPIO_MODE_IT_RISING;
  GPIO_InitStruct.Pull = GPIO_NOPULL;
  HAL_GPIO_Init(GPIOF, &GPIO_InitStruct);

  /*Configure GPIO pin : GPIO_EXTI4_KPAD_IRQ_Pin */
  GPIO_InitStruct.Pin = GPIO_EXTI4_KPAD_IRQ_Pin;
  GPIO_InitStruct.Mode = GPIO_MODE_IT_FALLING;
  GPIO_InitStruct.Pull = GPIO_NOPULL;
  HAL_GPIO_Init(GPIO_EXTI4_KPAD_IRQ_GPIO_Port, &GPIO_InitStruct);

  /*Configure GPIO pins : RMII_MDC_Pin RMII_RXD0_Pin RMII_RXD1_Pin */
  GPIO_InitStruct.Pin = RMII_MDC_Pin|RMII_RXD0_Pin|RMII_RXD1_Pin;
  GPIO_InitStruct.Mode = GPIO_MODE_AF_PP;
  GPIO_InitStruct.Pull = GPIO_NOPULL;
  GPIO_InitStruct.Speed = GPIO_SPEED_FREQ_VERY_HIGH;
  GPIO_InitStruct.Alternate = GPIO_AF11_ETH;
  HAL_GPIO_Init(GPIOC, &GPIO_InitStruct);

  /*Configure GPIO pins : RMII_REF_CLK_Pin RMII_MDIO_Pin RMII_CRS_DV_Pin */
  GPIO_InitStruct.Pin = RMII_REF_CLK_Pin|RMII_MDIO_Pin|RMII_CRS_DV_Pin;
  GPIO_InitStruct.Mode = GPIO_MODE_AF_PP;
  GPIO_InitStruct.Pull = GPIO_NOPULL;
  GPIO_InitStruct.Speed = GPIO_SPEED_FREQ_VERY_HIGH;
  GPIO_InitStruct.Alternate = GPIO_AF11_ETH;
  HAL_GPIO_Init(GPIOA, &GPIO_InitStruct);

  /*Configure GPIO pins : LD1_Pin LD3_Pin LD2_Pin */
  GPIO_InitStruct.Pin = LD1_Pin|LD3_Pin|LD2_Pin;
  GPIO_InitStruct.Mode = GPIO_MODE_OUTPUT_PP;
  GPIO_InitStruct.Pull = GPIO_NOPULL;
  GPIO_InitStruct.Speed = GPIO_SPEED_FREQ_LOW;
  HAL_GPIO_Init(GPIOB, &GPIO_InitStruct);

  /*Configure GPIO pin : RMII_TXD1_Pin */
  GPIO_InitStruct.Pin = RMII_TXD1_Pin;
  GPIO_InitStruct.Mode = GPIO_MODE_AF_PP;
  GPIO_InitStruct.Pull = GPIO_NOPULL;
  GPIO_InitStruct.Speed = GPIO_SPEED_FREQ_VERY_HIGH;
  GPIO_InitStruct.Alternate = GPIO_AF11_ETH;
  HAL_GPIO_Init(RMII_TXD1_GPIO_Port, &GPIO_InitStruct);

  /*Configure GPIO pin : PG6 */
  GPIO_InitStruct.Pin = GPIO_PIN_6;
  GPIO_InitStruct.Mode = GPIO_MODE_OUTPUT_PP;
  GPIO_InitStruct.Pull = GPIO_NOPULL;
  GPIO_InitStruct.Speed = GPIO_SPEED_FREQ_LOW;
  HAL_GPIO_Init(GPIOG, &GPIO_InitStruct);

  /*Configure GPIO pin : USB_OverCurrent_Pin */
  GPIO_InitStruct.Pin = USB_OverCurrent_Pin;
  GPIO_InitStruct.Mode = GPIO_MODE_INPUT;
  GPIO_InitStruct.Pull = GPIO_NOPULL;
  HAL_GPIO_Init(USB_OverCurrent_GPIO_Port, &GPIO_InitStruct);

  /*Configure GPIO pins : USB_SOF_Pin USB_ID_Pin USB_DM_Pin USB_DP_Pin */
  GPIO_InitStruct.Pin = USB_SOF_Pin|USB_ID_Pin|USB_DM_Pin|USB_DP_Pin;
  GPIO_InitStruct.Mode = GPIO_MODE_AF_PP;
  GPIO_InitStruct.Pull = GPIO_NOPULL;
  GPIO_InitStruct.Speed = GPIO_SPEED_FREQ_VERY_HIGH;
  GPIO_InitStruct.Alternate = GPIO_AF10_OTG_FS;
  HAL_GPIO_Init(GPIOA, &GPIO_InitStruct);

  /*Configure GPIO pin : USB_VBUS_Pin */
  GPIO_InitStruct.Pin = USB_VBUS_Pin;
  GPIO_InitStruct.Mode = GPIO_MODE_INPUT;
  GPIO_InitStruct.Pull = GPIO_NOPULL;
  HAL_GPIO_Init(USB_VBUS_GPIO_Port, &GPIO_InitStruct);

  /*Configure GPIO pins : RMII_TX_EN_Pin RMII_TXD0_Pin */
  GPIO_InitStruct.Pin = RMII_TX_EN_Pin|RMII_TXD0_Pin;
  GPIO_InitStruct.Mode = GPIO_MODE_AF_PP;
  GPIO_InitStruct.Pull = GPIO_NOPULL;
  GPIO_InitStruct.Speed = GPIO_SPEED_FREQ_VERY_HIGH;
  GPIO_InitStruct.Alternate = GPIO_AF11_ETH;
  HAL_GPIO_Init(GPIOG, &GPIO_InitStruct);

  /* EXTI interrupt init*/
  HAL_NVIC_SetPriority(EXTI4_IRQn, 5, 0);
  HAL_NVIC_EnableIRQ(EXTI4_IRQn);

}

void StatLineSensorTask(void *argument)
{
  /* USER CODE BEGIN 5 */
  /* Infinite loop */
  for(;;)
  {
	osSemaphoreRelease(BinarySemSyncHandle);
	uint8_t buff;
	HAL_StatusTypeDef status =  HAL_I2C_Mem_Read(&hi2c1, SX1509_I2C_ADDR1 << 1, REG_DATA_B, 1, &buff, 1, HAL_TIMEOUT);
	if (status != HAL_OK)
	  	printf("I2C communication error (%X).\n", status);
	printf("(%d).\n", buff);
    osDelay(1000);
  }
  /* USER CODE END 5 */
}

void StartLed1task(void *argument)
{
  /* USER CODE BEGIN StartLed1task */
  /* Infinite loop */
  for(;;)
  {
	  osSemaphoreAcquire(BinarySemSyncHandle, osWaitForever);
  	  HAL_GPIO_TogglePin(GPIOE, Led5_Pin);

      osDelay(10);
  }
  /* USER CODE END StartLed1task */
}

void StartLed2task(void *argument)
{
  /* USER CODE BEGIN StartLed2task */
  /* Infinite loop */
  for(;;)
  {
	  	HAL_GPIO_TogglePin(GPIOE, Led6_Pin);
	    osDelay(333);
  }
  /* USER CODE END StartLed2task */
}

void HAL_TIM_PeriodElapsedCallback(TIM_HandleTypeDef *htim)
{
  if (htim->Instance == TIM6) {
    HAL_IncTick();
  }
}

void Error_Handler(void)
{
  __disable_irq();
  while (1)
  {
  }
}
